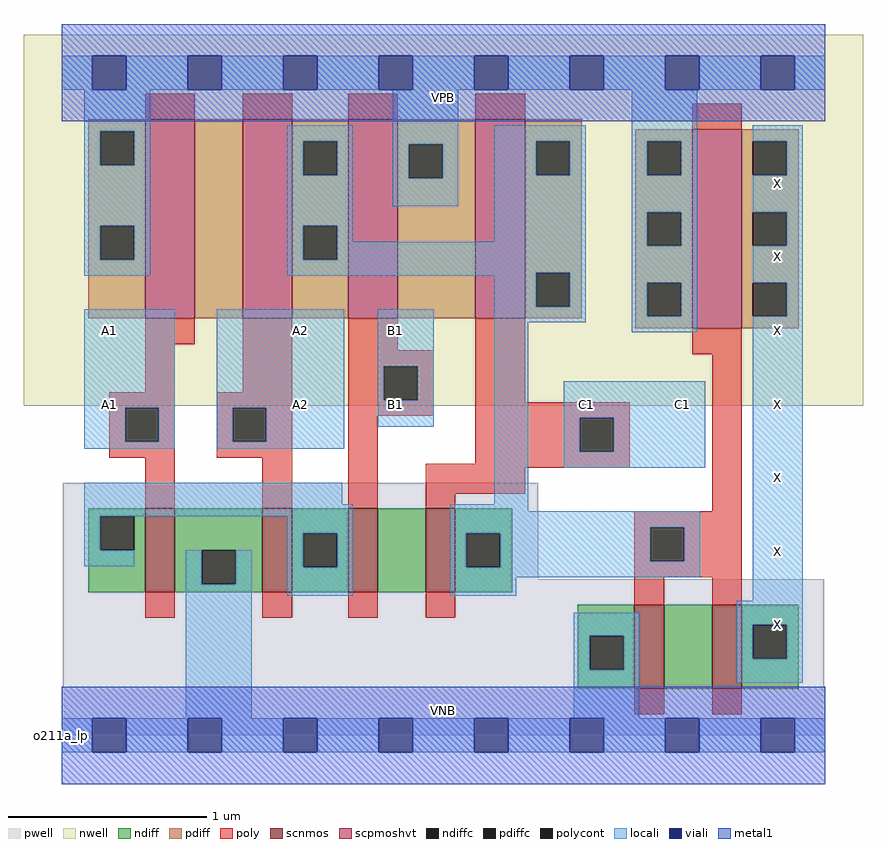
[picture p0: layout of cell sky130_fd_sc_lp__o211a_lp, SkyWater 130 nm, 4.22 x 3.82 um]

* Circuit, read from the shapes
.subckt sky130_fd_sc_lp__o211a_lp A1 A2 B1 C1 VGND VNB VPB VPWR X
XM1 VGND A1 n1 VNB sky130_fd_pr__nfet_01v8 w=0.42 l=0.15
XM2 n1 A2 VGND VNB sky130_fd_pr__nfet_01v8 w=0.42 l=0.15
XM3 n2 B1 n1 VNB sky130_fd_pr__nfet_01v8 w=0.42 l=0.15
XM4 n3 C1 n2 VNB sky130_fd_pr__nfet_01v8 w=0.42 l=0.15
XM5 n4 n3 VGND VNB sky130_fd_pr__nfet_01v8 w=0.42 l=0.15
XM6 X n3 n4 VNB sky130_fd_pr__nfet_01v8 w=0.42 l=0.15
XM7 n5 A1 VPWR VPB sky130_fd_pr__pfet_01v8_hvt w=1 l=0.25
XM8 n3 A2 n5 VPB sky130_fd_pr__pfet_01v8_hvt w=1 l=0.25
XM9 VPWR B1 n3 VPB sky130_fd_pr__pfet_01v8_hvt w=1 l=0.25
XM10 n3 C1 VPWR VPB sky130_fd_pr__pfet_01v8_hvt w=1 l=0.25
XM11 X n3 VPWR VPB sky130_fd_pr__pfet_01v8_hvt w=1 l=0.25
.ends

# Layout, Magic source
magic
tech sky130A
magscale 1 2
<< nwell >>
rect -38 331 806 704
<< pwell >>
rect 1 157 479 254
rect 1 49 767 157
rect 0 0 768 49
<< scnmos >>
rect 84 144 114 228
rect 202 144 232 228
rect 288 144 318 228
rect 366 144 396 228
rect 576 47 606 131
rect 654 47 684 131
<< scpmoshvt >>
rect 84 419 134 619
rect 182 419 232 619
rect 288 419 338 619
rect 416 419 466 619
rect 634 409 684 609
<< ndiff >>
rect 27 220 84 228
rect 27 186 39 220
rect 73 186 84 220
rect 27 144 84 186
rect 114 186 202 228
rect 114 152 141 186
rect 175 152 202 186
rect 114 144 202 152
rect 232 203 288 228
rect 232 169 243 203
rect 277 169 288 203
rect 232 144 288 169
rect 318 144 366 228
rect 396 203 453 228
rect 396 169 407 203
rect 441 169 453 203
rect 396 144 453 169
rect 519 100 576 131
rect 519 66 531 100
rect 565 66 576 100
rect 519 47 576 66
rect 606 47 654 131
rect 684 111 741 131
rect 684 77 695 111
rect 729 77 741 111
rect 684 47 741 77
<< pdiff >>
rect 27 607 84 619
rect 27 573 39 607
rect 73 573 84 607
rect 27 512 84 573
rect 27 478 39 512
rect 73 478 84 512
rect 27 419 84 478
rect 134 419 182 619
rect 232 597 288 619
rect 232 563 243 597
rect 277 563 288 597
rect 232 512 288 563
rect 232 478 243 512
rect 277 478 288 512
rect 232 419 288 478
rect 338 594 416 619
rect 338 560 349 594
rect 383 560 416 594
rect 338 419 416 560
rect 466 597 523 619
rect 466 563 477 597
rect 511 563 523 597
rect 466 465 523 563
rect 466 431 477 465
rect 511 431 523 465
rect 466 419 523 431
rect 577 597 634 609
rect 577 563 589 597
rect 623 563 634 597
rect 577 526 634 563
rect 577 492 589 526
rect 623 492 634 526
rect 577 455 634 492
rect 577 421 589 455
rect 623 421 634 455
rect 577 409 634 421
rect 684 597 741 609
rect 684 563 695 597
rect 729 563 741 597
rect 684 526 741 563
rect 684 492 695 526
rect 729 492 741 526
rect 684 455 741 492
rect 684 421 695 455
rect 729 421 741 455
rect 684 409 741 421
<< ndiffc >>
rect 39 186 73 220
rect 141 152 175 186
rect 243 169 277 203
rect 407 169 441 203
rect 531 66 565 100
rect 695 77 729 111
<< pdiffc >>
rect 39 573 73 607
rect 39 478 73 512
rect 243 563 277 597
rect 243 478 277 512
rect 349 560 383 594
rect 477 563 511 597
rect 477 431 511 465
rect 589 563 623 597
rect 589 492 623 526
rect 589 421 623 455
rect 695 563 729 597
rect 695 492 729 526
rect 695 421 729 455
<< poly >>
rect 84 619 134 645
rect 182 619 232 645
rect 288 619 338 645
rect 416 619 466 645
rect 634 609 684 635
rect 84 393 134 419
rect 84 345 114 393
rect 182 345 232 419
rect 48 329 114 345
rect 48 295 64 329
rect 98 295 114 329
rect 48 279 114 295
rect 156 329 232 345
rect 156 295 172 329
rect 206 295 232 329
rect 156 279 232 295
rect 84 228 114 279
rect 202 228 232 279
rect 288 387 338 419
rect 288 371 374 387
rect 288 337 324 371
rect 358 337 374 371
rect 288 321 374 337
rect 416 335 466 419
rect 634 383 684 409
rect 288 228 318 321
rect 416 319 571 335
rect 416 285 521 319
rect 555 285 571 319
rect 416 273 571 285
rect 366 269 571 273
rect 366 243 466 269
rect 366 228 396 243
rect 654 225 684 383
rect 576 209 684 225
rect 576 175 592 209
rect 626 175 684 209
rect 576 159 684 175
rect 84 118 114 144
rect 202 118 232 144
rect 288 118 318 144
rect 366 118 396 144
rect 576 131 606 159
rect 654 131 684 159
rect 576 21 606 47
rect 654 21 684 47
<< polycont >>
rect 64 295 98 329
rect 172 295 206 329
rect 324 337 358 371
rect 521 285 555 319
rect 592 175 626 209
<< locali >>
rect 0 649 31 683
rect 65 649 127 683
rect 161 649 223 683
rect 257 649 319 683
rect 353 649 415 683
rect 449 649 511 683
rect 545 649 607 683
rect 641 649 703 683
rect 737 649 768 683
rect 23 607 89 649
rect 23 573 39 607
rect 73 573 89 607
rect 23 512 89 573
rect 23 478 39 512
rect 73 478 89 512
rect 23 462 89 478
rect 227 597 293 613
rect 227 563 243 597
rect 277 563 293 597
rect 227 512 293 563
rect 333 594 399 649
rect 333 560 349 594
rect 383 560 399 594
rect 333 532 399 560
rect 435 597 527 613
rect 435 563 477 597
rect 511 563 527 597
rect 227 478 243 512
rect 277 496 293 512
rect 435 496 527 563
rect 277 478 527 496
rect 227 465 527 478
rect 227 462 477 465
rect 435 431 477 462
rect 511 431 527 465
rect 23 329 114 428
rect 23 295 64 329
rect 98 295 114 329
rect 23 288 114 295
rect 156 329 284 428
rect 156 295 172 329
rect 206 295 284 329
rect 318 371 374 428
rect 318 337 324 371
rect 358 337 374 371
rect 318 310 374 337
rect 435 415 527 431
rect 573 597 639 649
rect 573 563 589 597
rect 623 563 639 597
rect 573 526 639 563
rect 573 492 589 526
rect 623 492 639 526
rect 573 455 639 492
rect 573 421 589 455
rect 623 421 639 455
rect 156 288 284 295
rect 23 232 282 254
rect 435 232 469 415
rect 573 405 639 421
rect 695 597 745 613
rect 729 563 745 597
rect 695 526 745 563
rect 729 492 745 526
rect 695 455 745 492
rect 729 421 745 455
rect 505 319 647 356
rect 505 285 521 319
rect 555 285 647 319
rect 505 269 647 285
rect 23 220 293 232
rect 23 186 39 220
rect 227 203 293 220
rect 23 170 73 186
rect 125 152 141 186
rect 175 152 191 186
rect 125 17 191 152
rect 227 169 243 203
rect 277 169 293 203
rect 227 140 293 169
rect 391 225 469 232
rect 391 209 642 225
rect 391 203 592 209
rect 391 169 407 203
rect 441 175 592 203
rect 626 175 642 209
rect 441 169 642 175
rect 391 159 642 169
rect 391 140 457 159
rect 695 135 745 421
rect 515 100 581 123
rect 515 66 531 100
rect 565 66 581 100
rect 515 17 581 66
rect 679 111 745 135
rect 679 77 695 111
rect 729 77 745 111
rect 679 53 745 77
rect 0 -17 31 17
rect 65 -17 127 17
rect 161 -17 223 17
rect 257 -17 319 17
rect 353 -17 415 17
rect 449 -17 511 17
rect 545 -17 607 17
rect 641 -17 703 17
rect 737 -17 768 17
<< viali >>
rect 31 649 65 683
rect 127 649 161 683
rect 223 649 257 683
rect 319 649 353 683
rect 415 649 449 683
rect 511 649 545 683
rect 607 649 641 683
rect 703 649 737 683
rect 31 -17 65 17
rect 127 -17 161 17
rect 223 -17 257 17
rect 319 -17 353 17
rect 415 -17 449 17
rect 511 -17 545 17
rect 607 -17 641 17
rect 703 -17 737 17
<< metal1 >>
rect 0 683 768 715
rect 0 649 31 683
rect 65 649 127 683
rect 161 649 223 683
rect 257 649 319 683
rect 353 649 415 683
rect 449 649 511 683
rect 545 649 607 683
rect 641 649 703 683
rect 737 649 768 683
rect 0 617 768 649
rect 0 17 768 49
rect 0 -17 31 17
rect 65 -17 127 17
rect 161 -17 223 17
rect 257 -17 319 17
rect 353 -17 415 17
rect 449 -17 511 17
rect 545 -17 607 17
rect 641 -17 703 17
rect 737 -17 768 17
rect 0 -49 768 -17
<< labels >>
flabel pwell s 0 0 768 49 0 FreeSans 200 0 0 0 VNB
port 6 nsew ground bidirectional
flabel nwell s 0 617 768 666 0 FreeSans 200 0 0 0 VPB
port 7 nsew power bidirectional
rlabel comment s 0 0 0 0 4 o211a_lp
flabel metal1 s 0 617 768 666 0 FreeSans 340 0 0 0 VPWR
port 8 nsew power bidirectional
flabel metal1 s 0 0 768 49 0 FreeSans 340 0 0 0 VGND
port 5 nsew ground bidirectional
flabel locali s 511 316 545 350 0 FreeSans 340 0 0 0 C1
port 4 nsew signal input
flabel locali s 607 316 641 350 0 FreeSans 340 0 0 0 C1
port 4 nsew signal input
flabel locali s 319 316 353 350 0 FreeSans 340 0 0 0 B1
port 3 nsew signal input
flabel locali s 223 316 257 350 0 FreeSans 340 0 0 0 A2
port 2 nsew signal input
flabel locali s 31 316 65 350 0 FreeSans 340 0 0 0 A1
port 1 nsew signal input
flabel locali s 703 94 737 128 0 FreeSans 340 0 0 0 X
port 9 nsew signal output
flabel locali s 703 168 737 202 0 FreeSans 340 0 0 0 X
port 9 nsew signal output
flabel locali s 703 242 737 276 0 FreeSans 340 0 0 0 X
port 9 nsew signal output
flabel locali s 703 316 737 350 0 FreeSans 340 0 0 0 X
port 9 nsew signal output
flabel locali s 703 390 737 424 0 FreeSans 340 0 0 0 X
port 9 nsew signal output
flabel locali s 703 464 737 498 0 FreeSans 340 0 0 0 X
port 9 nsew signal output
flabel locali s 703 538 737 572 0 FreeSans 340 0 0 0 X
port 9 nsew signal output
flabel locali s 319 390 353 424 0 FreeSans 340 0 0 0 B1
port 3 nsew signal input
flabel locali s 223 390 257 424 0 FreeSans 340 0 0 0 A2
port 2 nsew signal input
flabel locali s 31 390 65 424 0 FreeSans 340 0 0 0 A1
port 1 nsew signal input
<< properties >>
string LEFsite unit
string LEFclass CORE
string FIXED_BBOX 0 0 768 666
string GDS_FILE $PDKPATH/libs.ref/sky130_fd_sc_lp/gds/sky130_fd_sc_lp.gds
string LEFsymmetry X Y R90
string GDS_END 2794934
string GDS_START 2787398
<< end >>
